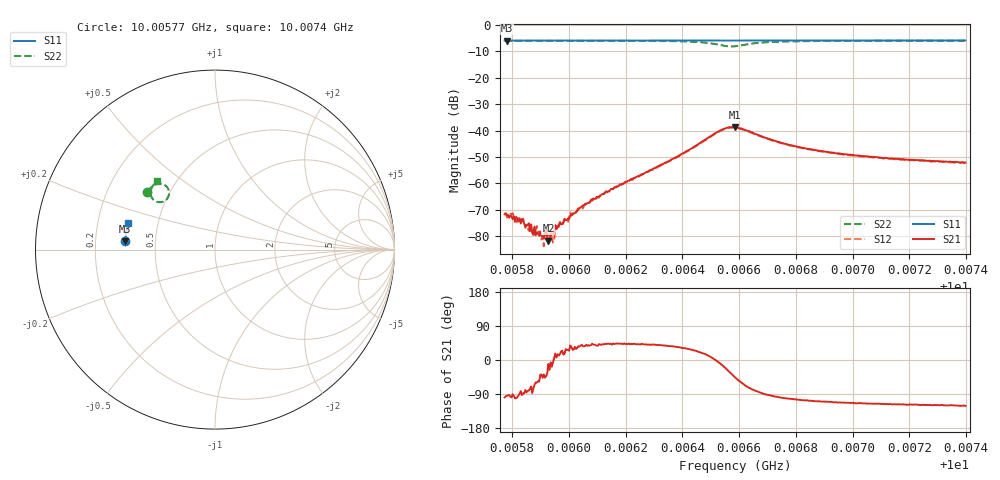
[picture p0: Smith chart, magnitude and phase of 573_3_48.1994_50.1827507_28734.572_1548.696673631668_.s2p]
#  HZ  S  RI  R  50.00
! Rohde & Schwarz Vector Network Analyzer
! Rohde-Schwarz,ZNB20-2Port,1311601062101988,3.16
! Created: UTC 3/20/2024, 12:01:47 PM
! freq[Hz]  re:S11  im:S11  re:S21  im:S21  re:S12  im:S12  re:S22  im:S22
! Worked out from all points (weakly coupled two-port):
!   401 points, 10.00577 GHz to 10.0074 GHz, reference 50 ohm
!   highest |S21| = -38.66 dB at 10.00659 GHz (marker M1); lowest = -81.6 dB at 10.00593 GHz (marker M2)
!   lowest |S11| = -6.0 dB at 10.00578 GHz (marker M3), VSWR 3.01, Z = 16.6 + j2.09 ohm
!   |S11| at or under -10 dB: nowhere
!   |S22| runs from -8.2 to -6.0 dB; largest |S21 - S12| = 0.00076
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1.0005774e10  -0.4998 0.0466  -4.02e-05 -0.000259  -6.25e-05 -0.000265  -0.3788 0.3224
1.0005782e10  -0.4995 0.0471  -1.99e-05 -0.000252  -3.43e-05 -0.000226  -0.3785 0.3229
1.0005798e10  -0.4996 0.0482  -3.54e-05 -0.000234  -1.62e-05 -0.000259  -0.3776 0.3238
1.0005814e10  -0.4995 0.0492  -4.37e-05 -0.000231  5.42e-06 -0.000199  -0.3769 0.3247
1.0005831e10  -0.4995 0.0503  2.45e-05 -0.000174  -1.65e-05 -0.000174  -0.3761 0.3259
1.0005871e10  -0.4993 0.0529  5.37e-06 -0.000116  5.36e-05 -0.000109  -0.374 0.3284
1.0005891e10  -0.4991 0.0543  6.18e-05 -9.18e-05  8.39e-05 -8.59e-05  -0.373 0.3297
1.0005908e10  -0.4992 0.0554  6.81e-05 -7.32e-05  7.46e-05 -6.79e-05  -0.372 0.3306
1.0005928e10  -0.499 0.0566  8.19e-05 -1.48e-05  9.11e-05 -2.5e-05  -0.3708 0.332
1.000594e10  -0.4987 0.0574  0.000107 -3.45e-05  9.03e-05 -4.11e-07  -0.3703 0.3327
1.0005948e10  -0.4988 0.0579  0.000121 1.09e-05  8.49e-05 -3.5e-06  -0.3698 0.3333
1.000596e10  -0.4988 0.0588  0.000145 3.92e-05  0.000178 4.62e-07  -0.369 0.334
1.0005989e10  -0.4986 0.0606  0.00018 9.82e-05  0.000178 7.91e-05  -0.3673 0.336
1.0006046e10  -0.4983 0.0642  0.000281 0.000237  0.000273 0.000202  -0.3637 0.3398
1.0006164e10  -0.4974 0.0719  0.000631 0.000586  0.000588 0.000596  -0.355 0.3482
1.0006318e10  -0.4961 0.0819  0.00167 0.00136  0.00157 0.0014  -0.3369 0.3607
1.0006533e10  -0.4932 0.0956  0.00989 -0.00154  0.00976 -0.000963  -0.2567 0.3253
1.0006586e10  -0.4927 0.0983  0.00817 -0.00833  0.00838 -0.0076  -0.2857 0.2683
1.0006675e10  -0.4925 0.1038  0.000523 -0.00791  0.000928 -0.00776  -0.3533 0.292
1.0006858e10  -0.4905 0.1157  -0.00136 -0.0042  -0.00112 -0.00416  -0.3542 0.3405
1.000713e10  -0.4867 0.133  -0.00132 -0.00267  -0.00118 -0.0027  -0.3381 0.3664
1.0007398e10  -0.4823 0.1497  -0.00129 -0.00213  -0.00114 -0.00214  -0.3233 0.3828
